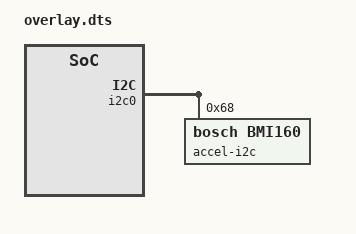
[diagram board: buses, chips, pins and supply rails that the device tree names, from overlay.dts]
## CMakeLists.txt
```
# Copyright 2020 The ChromiumOS Authors. All rights reserved.
# Use of this source code is governed by a BSD-style license that can be
# found in the LICENSE file.

cmake_minimum_required(VERSION 3.13.1)
find_package(Zephyr REQUIRED HINTS $ENV{ZEPHYR_BASE})
project(i2c_test)

FILE(GLOB app_sources src/*.c)
target_sources(app PRIVATE ${app_sources})
```

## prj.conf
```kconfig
# Copyright 2022 The ChromiumOS Authors
# Use of this source code is governed by a BSD-style license that can be
# found in the LICENSE file.

CONFIG_ZTEST=y
CONFIG_ZTEST_NEW_API=y

CONFIG_PLATFORM_EC=y
CONFIG_CROS_EC=y

CONFIG_EMUL=y
CONFIG_EMUL_BMI160=y
CONFIG_SENSOR=y
CONFIG_BMI160_TRIGGER_NONE=y

# TODO(b/173711210) figure out why SPI is required here when we're not using it.
CONFIG_SPI=y

CONFIG_PLATFORM_EC_CBI=n
```

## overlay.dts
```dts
/* Copyright 2020 The Chromium OS Authors. All rights reserved.
 * Use of this source code is governed by a BSD-style license that can be
 * found in the LICENSE file.
 */

/ {
	named-i2c-ports {
		compatible = "named-i2c-ports";
		accel-0 {
			i2c-port = <&i2c0>;
			enum-name = "I2C_PORT_ACCEL";
		};
	};
};

&i2c0 {
	bmi_i2c: bmi@68 {
		compatible = "bosch,bmi160";
		reg = <0x68>;
		label = "accel-i2c";
	};
};
```

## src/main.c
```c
/* Copyright 2020 The ChromiumOS Authors. All rights reserved.
 * Use of this source code is governed by a BSD-style license that can be
 * found in the LICENSE file.
 */

#include <zephyr/device.h>
#include <zephyr/devicetree.h>
#include <ztest.h>

static void test_i2c_get_device(void)
{
	const struct device *accel0 = DEVICE_DT_GET(
		DT_PHANDLE(DT_PATH(named_i2c_ports, accel_0), i2c_port));
	const struct device *bmi_i2c = DEVICE_DT_GET(DT_NODELABEL(bmi_i2c));

	zassert_not_null(accel0, "accel0 was NULL");
	zassert_not_null(bmi_i2c, "bmi_i2c was NULL");
	zassert_equal(
		accel0, bmi_i2c,
		"named_i2c_ports/accel0 and bmi_i2c should resolve to the same device");
}

/* test case main entry */
void test_main(void)
{
	ztest_test_suite(test_i2c_bindings,
			 ztest_user_unit_test(test_i2c_get_device));
	ztest_run_test_suite(test_i2c_bindings);
}
```
